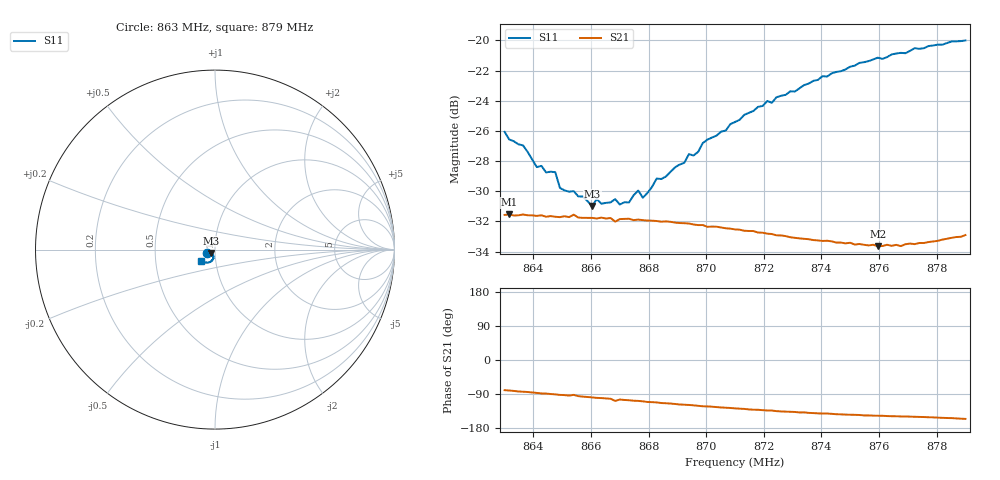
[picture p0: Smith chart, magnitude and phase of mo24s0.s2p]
# HZ S RI R 50
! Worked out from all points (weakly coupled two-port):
!   101 points, 863 MHz to 879 MHz, reference 50 ohm
!   highest |S21| = -31.53 dB at 863.16 MHz (marker M1); lowest = -33.6 dB at 875.96 MHz (marker M2)
!   lowest |S11| = -31.0 dB at 866.04 MHz (marker M3), VSWR 1.06, Z = 47.9 - j1.85 ohm
!   |S11| at or under -10 dB: start of sweep to end of sweep
!   S12 and S22 are empty: the file has one direction only
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8.63e8  -0.0471 -0.0162  0.00476 -0.026  0 0  0 0
8.6316e8  -0.044 -0.0166  0.00438 -0.0261  0 0  0 0
8.6364e8  -0.0417 -0.0167  0.00291 -0.0263  0 0  0 0
8.6412e8  -0.0349 -0.0152  0.00142 -0.0262  0 0  0 0
8.6476e8  -0.0325 -0.0169  -0.000306 -0.026  0 0  0 0
8.6492e8  -0.0284 -0.0156  -0.000948 -0.026  0 0  0 0
8.6572e8  -0.0228 -0.0202  -0.00298 -0.0257  0 0  0 0
8.6604e8  -0.0207 -0.0192  -0.00394 -0.0255  0 0  0 0
8.662e8  -0.022 -0.0201  -0.00443 -0.0253  0 0  0 0
8.6636e8  -0.02 -0.0207  -0.00471 -0.0254  0 0  0 0
8.6684e8  -0.0176 -0.024  -0.00778 -0.0238  0 0  0 0
8.6732e8  -0.0142 -0.0253  -0.00717 -0.0246  0 0  0 0
8.6764e8  -0.014 -0.0286  -0.00786 -0.0242  0 0  0 0
8.678e8  -0.0122 -0.0276  -0.00829 -0.024  0 0  0 0
8.6828e8  -0.0106 -0.0332  -0.00941 -0.0234  0 0  0 0
8.6844e8  -0.0104 -0.0331  -0.01 -0.023  0 0  0 0
8.71e8  -0.0104 -0.0526  -0.0144 -0.0187  0 0  0 0
8.7212e8  -0.0168 -0.0607  -0.0157 -0.0167  0 0  0 0
8.7372e8  -0.0258 -0.0688  -0.0167 -0.014  0 0  0 0
8.7596e8  -0.0479 -0.0735  -0.0175 -0.0113  0 0  0 0
8.7644e8  -0.0532 -0.0725  -0.0178 -0.0109  0 0  0 0
8.79e8  -0.0782 -0.0623  -0.0206 -0.00943  0 0  0 0
